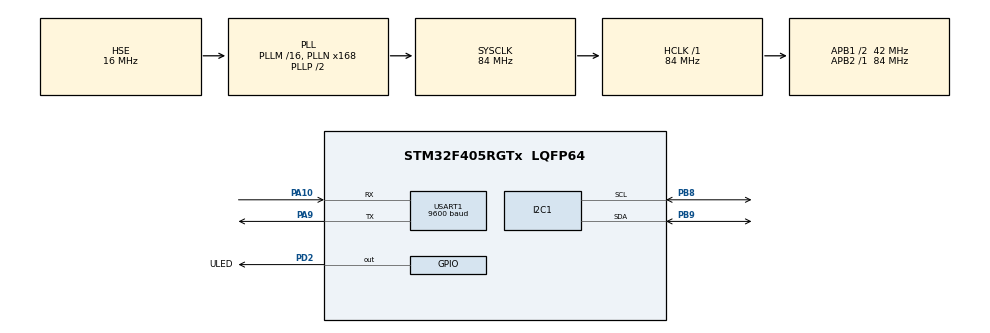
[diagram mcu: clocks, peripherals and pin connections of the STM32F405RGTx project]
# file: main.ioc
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Mcu.Family=STM32F4
Mcu.Name=STM32F405RGTx
Mcu.Package=LQFP64
NVIC.PriorityGroup=NVIC_PRIORITYGROUP_4
PA10.Mode=Asynchronous
PA10.Signal=USART1_RX
PA13.Mode=Serial_Wire
PA13.Signal=SYS_JTMS-SWDIO
PA14.Mode=Serial_Wire
PA14.Signal=SYS_JTCK-SWCLK
PA9.Mode=Asynchronous
PA9.Signal=USART1_TX
PB8.GPIO_Pu=GPIO_PULLUP
PB8.Mode=I2C
PB8.Signal=I2C1_SCL
PB9.GPIO_Pu=GPIO_PULLUP
PB9.Mode=I2C
PB9.Signal=I2C1_SDA
PC14-OSC32_IN.Mode=LSE-External-Oscillator
PC14-OSC32_IN.Signal=RCC_OSC32_IN
PC15-OSC32_OUT.Mode=LSE-External-Oscillator
PC15-OSC32_OUT.Signal=RCC_OSC32_OUT
PD2.GPIO_Label=ULED
PD2.Signal=GPIO_Output
PH0-OSC_IN.Mode=HSE-External-Oscillator
PH0-OSC_IN.Signal=RCC_OSC_IN
PH1-OSC_OUT.Mode=HSE-External-Oscillator
PH1-OSC_OUT.Signal=RCC_OSC_OUT
ProjectManager.HeapSize=0x200
ProjectManager.StackSize=0x400
ProjectManager.TargetToolchain=MDK-ARM V5.32
RCC.48MHZClocksFreq_Value=42000000
RCC.AHBFreq_Value=84000000
RCC.APB1CLKDivider=RCC_HCLK_DIV2
RCC.APB1Freq_Value=42000000
RCC.APB1TimFreq_Value=84000000
RCC.APB2Freq_Value=84000000
RCC.APB2TimFreq_Value=84000000
RCC.CortexFreq_Value=84000000
RCC.HCLKFreq_Value=84000000
RCC.HSE_VALUE=16000000
RCC.HSI_VALUE=16000000
RCC.PLLN=168
RCC.PLLSourceVirtual=RCC_PLLSOURCE_HSE
RCC.RCC_RTC_Clock_SourceVirtual=RCC_RTCCLKSOURCE_LSE
RCC.SYSCLKFreq_VALUE=84000000
RCC.SYSCLKSource=RCC_SYSCLKSOURCE_PLLCLK
RCC.VCOOutputFreq_Value=168000000
USART1.BaudRate=9600
USART1.VirtualMode=VM_ASYNC
board=main

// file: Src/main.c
/* USER CODE BEGIN Header */
/**
  ******************************************************************************
  * @file           : main.c
  * @brief          : Main program body
  ******************************************************************************
  * @attention
  *
  * Copyright (c) 2023 STMicroelectronics.
  * All rights reserved.
  *
  * This software is licensed under terms that can be found in the LICENSE file
  * in the root directory of this software component.
  * If no LICENSE file comes with this software, it is provided AS-IS.
  *
  ******************************************************************************
  */
/* USER CODE END Header */
#include "main.h"

/* USER CODE BEGIN Includes */
/* vim: set ai et ts=4 sw=4: */
#include <string.h>
#include <stdarg.h>
#include <stdbool.h>
#include <ctype.h>
#include "r820t2.h"

/* USER CODE END Includes */

I2C_HandleTypeDef hi2c1;

UART_HandleTypeDef huart1;

/* USER CODE BEGIN PV */
/* Private variables ---------------------------------------------------------*/

/* USER CODE END PV */

void SystemClock_Config(void);
static void MX_GPIO_Init(void);
static void MX_I2C1_Init(void);
static void MX_USART1_UART_Init(void);
/* USER CODE BEGIN PFP */
/* Private function prototypes -----------------------------------------------*/

/* USER CODE END PFP */

/* USER CODE BEGIN 0 */

void UART_Printf(const char* fmt, ...) {
    char buff[256];
    va_list args;
    va_start(args, fmt);
    vsnprintf(buff, sizeof(buff), fmt, args);
    HAL_UART_Transmit(&huart1, (uint8_t*)buff, strlen(buff),
                      HAL_MAX_DELAY);
    va_end(args);
}

HAL_StatusTypeDef UART_ReceiveString(
        UART_HandleTypeDef *huart, uint8_t *pData,
        uint16_t Size, uint32_t Timeout) {
    const char newline[] = "\r\n";
    const char delete[] = "\x08 \x08";
    HAL_StatusTypeDef status;

    if(Size == 0)
        return HAL_ERROR;

    int i = 0;
    for(;;) {
        status = HAL_UART_Receive(huart, &pData[i], 1, Timeout);
        if(status != HAL_OK)
            return status;

        if((pData[i] == '\x08')||(pData[i] == '\x7F')) { // backspace
            if(i > 0) {
                status = HAL_UART_Transmit(huart, (uint8_t*)delete,
                                           sizeof(delete)-1, Timeout);
                if(status != HAL_OK)
                    return status;
                i--;
            }
            continue;
        }

        if((pData[i] == '\r') || (pData[i] == '\n')) {
            pData[i] = '\0';
            status = HAL_UART_Transmit(huart, (uint8_t*)newline,
                                       sizeof(newline)-1, Timeout);
            if(status != HAL_OK)
                return status;
            break;
        }

        // last character is reserved for '\0'
        if(i == (Size-1)) {
            continue; // buffer is full, ignore any input
        }

        status = HAL_UART_Transmit(huart, &pData[i], 1, Timeout);
        if(status != HAL_OK)
            return status;
        i++;
    }

    return HAL_OK;
}

void init() {
    /* do nothing */
}

void cmd_help() {
    UART_Printf("help              - show this message\r\n");
    UART_Printf("scan              - perform I2C scan\r\n");
    UART_Printf("dump              - read all registers\r\n");
    UART_Printf("read <reg>        - read given register value\r\n"
                "                    (e.g `read 0A`)\r\n");
    UART_Printf("write <reg> <val> - write <val> to register <reg>\r\n"
                "                    (e.g. `write 0A E1`)\r\n");
    UART_Printf("init              - initialize R820T2\r\n");
    UART_Printf("calibrate         - calibrate R820T2\r\n");
    UART_Printf("frequency <val>   - set frequency to <val>\r\n"
                "                    (e.g. `frequency 144000000`)\r\n");
    UART_Printf("bandwidth <val>   - Set IF bandwidth [0-15]\r\n");
    UART_Printf("lna_gain <val>    - Set gain of LNA [0-15]\r\n");
    UART_Printf("vga_gain <val>    - Set gain of VGA [0-15]\r\n");
    UART_Printf("mixer_gain <val>  - Set gain Mixer [0-15]\r\n");
    UART_Printf("lna_agc <val>     - Enable/disable LNA AGC [0-1]\r\n");
    UART_Printf("mixer_agc <val>   - Enable/disable Mixer AGC [0-1]\r\n");
}

void cmd_scan() {
    HAL_StatusTypeDef res;
    for(uint16_t i = 0; i < 128; i++) {
        res = HAL_I2C_IsDeviceReady(&hi2c1, i << 1, 1, 10);
        if(res == HAL_OK) {
            UART_Printf("0x%02X ", i);
        } else {
            UART_Printf(".");
        }
    }
    UART_Printf("\r\n");
}

void cmd_dump() {
    uint8_t regs[R820T2_NUM_REGS];
    R820T2_read(0x00, regs, sizeof(regs));
    for(uint8_t i = 0; i < R820T2_NUM_REGS; i++) {
        UART_Printf("%02X ", regs[i]);
        if((i & 0x7) == 0x7) {
            UART_Printf("  ");
        }
        if((i & 0xF) == 0xF) {
            UART_Printf("\r\n");
        }
    }
}

void cmd_read(uint8_t reg) {
    if(reg >= R820T2_NUM_REGS) {
        UART_Printf("Out of bound: 0x00-0x%02X\r\n", R820T2_NUM_REGS);
        return;
    }

    uint8_t val = R820T2_read_reg(reg);
    UART_Printf("%02X\r\n", val);
}

void cmd_write(uint8_t reg, uint8_t val) {
    if(reg >= R820T2_NUM_REGS) {
        UART_Printf("Out of bound: 0x00-0x%02X\r\n", R820T2_NUM_REGS);
        return;
    }

    R820T2_write_reg(reg, val);
}

void cmd_init() {
    R820T2_init();
}

void cmd_calibrate() {
    int32_t res = R820T2_calibrate();
    if(res != 0) {
        UART_Printf("Calibration failed, res = %d\r\n", res);
    }
}

void cmd_frequency(uint32_t val) {
    if((val < 24000000) || (val > 1766000000)) {
        UART_Printf("Out of bound: 24000000-1766000000\r\n");
        return;
    }
    R820T2_set_frequency(val);
}

void cmd_bandwidth(uint32_t val) {
    if(val > 15) {
        UART_Printf("Out of bound: 0-15\r\n");
        return;
    }

    R820T2_set_bandwidth(val);
}

void cmd_lna_gain(uint32_t val) {
    if(val > 15) {
        UART_Printf("Out of bound: 0-15\r\n");
        return;
    }

    R820T2_set_lna_gain(val);
}

void cmd_vga_gain(uint32_t val) {
    if(val > 15) {
        UART_Printf("Out of bound: 0-15\r\n");
        return;
    }

    R820T2_set_vga_gain(val);
}

void cmd_mixer_gain(uint32_t val) {
    if(val > 15) {
        UART_Printf("Out of bound: 0-15\r\n");
        return;
    }

    R820T2_set_mixer_gain(val);
}

void cmd_lna_agc(uint32_t val) {
    if(val > 1) {
        UART_Printf("Out of bound: 0-15\r\n");
        return;
    }

    R820T2_set_lna_agc(val);
}

void cmd_mixer_agc(uint32_t val) {
    if(val > 1) {
        UART_Printf("Out of bound: 0-1\r\n");
        return;
    }

    R820T2_set_mixer_agc(val);
}

void loop() {
    unsigned int uint1, uint2;
    char cmd[128];
    UART_Printf("r820t2> ");
    UART_ReceiveString(&huart1, (uint8_t*)cmd, sizeof(cmd), HAL_MAX_DELAY);

    if(strcmp(cmd, "") == 0) {
        /* empty command - do nothing */
    } else if(strcmp(cmd, "help") == 0) {
        cmd_help();
    } else if(strcmp(cmd, "scan") == 0) {
        cmd_scan();
    } else if(strcmp(cmd, "init") == 0) {
        cmd_init();
    } else if(strcmp(cmd, "calibrate") == 0) {
        cmd_calibrate();
    } else if(strcmp(cmd, "dump") == 0) {
        cmd_dump();
    } else if(sscanf(cmd, "frequency %u", &uint1) == 1) {
        cmd_frequency((uint32_t)uint1);
    } else if(sscanf(cmd, "bandwidth %u", &uint1) == 1) {
        cmd_bandwidth((uint32_t)uint1);
    } else if(sscanf(cmd, "lna_gain %u", &uint1) == 1) {
        cmd_lna_gain((uint32_t)uint1);
    } else if(sscanf(cmd, "vga_gain %u", &uint1) == 1) {
        cmd_vga_gain((uint32_t)uint1);
    } else if(sscanf(cmd, "mixer_gain %u", &uint1) == 1) {
        cmd_mixer_gain((uint32_t)uint1);
    } else if(sscanf(cmd, "lna_agc %u", &uint1) == 1) {
        cmd_lna_agc((uint32_t)uint1);
    } else if(sscanf(cmd, "mixer_agc %u", &uint1) == 1) {
        cmd_mixer_agc((uint32_t)uint1);
    } else if(sscanf(cmd, "read %02x", &uint1) == 1) {
        cmd_read((uint8_t)uint1);
    } else if(sscanf(cmd, "write %02x %02x", &uint1, &uint2) == 2) {
        cmd_write((uint8_t)uint1, (uint8_t)uint2);
    } else {
        UART_Printf("Unknown command, try `help`\r\n");
    }
}

/* USER CODE END 0 */

int main(void)
{

  /* MCU Configuration--------------------------------------------------------*/

  /* Reset of all peripherals, Initializes the Flash interface and the Systick. */
  HAL_Init();

  /* Configure the system clock */
  SystemClock_Config();

  /* Initialize all configured peripherals */
  MX_GPIO_Init();
  MX_I2C1_Init();
  MX_USART1_UART_Init();

  /* Infinite loop */
  /* USER CODE BEGIN WHILE */
  init();
  while (1)
  {
    loop();
    /* USER CODE END WHILE */

  }
}

void SystemClock_Config(void)
{
  RCC_OscInitTypeDef RCC_OscInitStruct = {0};
  RCC_ClkInitTypeDef RCC_ClkInitStruct = {0};

  /** Configure the main internal regulator output voltage
  */
  __HAL_RCC_PWR_CLK_ENABLE();
  __HAL_PWR_VOLTAGESCALING_CONFIG(PWR_REGULATOR_VOLTAGE_SCALE1);

  /** Initializes the RCC Oscillators according to the specified parameters
  * in the RCC_OscInitTypeDef structure.
  */
  RCC_OscInitStruct.OscillatorType = RCC_OSCILLATORTYPE_HSE;
  RCC_OscInitStruct.HSEState = RCC_HSE_ON;
  RCC_OscInitStruct.PLL.PLLState = RCC_PLL_ON;
  RCC_OscInitStruct.PLL.PLLSource = RCC_PLLSOURCE_HSE;
  RCC_OscInitStruct.PLL.PLLM = 16;
  RCC_OscInitStruct.PLL.PLLN = 168;
  RCC_OscInitStruct.PLL.PLLP = RCC_PLLP_DIV2;
  RCC_OscInitStruct.PLL.PLLQ = 4;
  if (HAL_RCC_OscConfig(&RCC_OscInitStruct) != HAL_OK)
  {
    Error_Handler();
  }

  /** Initializes the CPU, AHB and APB buses clocks
  */
  RCC_ClkInitStruct.ClockType = RCC_CLOCKTYPE_HCLK|RCC_CLOCKTYPE_SYSCLK
                              |RCC_CLOCKTYPE_PCLK1|RCC_CLOCKTYPE_PCLK2;
  RCC_ClkInitStruct.SYSCLKSource = RCC_SYSCLKSOURCE_PLLCLK;
  RCC_ClkInitStruct.AHBCLKDivider = RCC_SYSCLK_DIV1;
  RCC_ClkInitStruct.APB1CLKDivider = RCC_HCLK_DIV2;
  RCC_ClkInitStruct.APB2CLKDivider = RCC_HCLK_DIV1;

  if (HAL_RCC_ClockConfig(&RCC_ClkInitStruct, FLASH_LATENCY_2) != HAL_OK)
  {
    Error_Handler();
  }
}

static void MX_I2C1_Init(void)
{

  hi2c1.Instance = I2C1;
  hi2c1.Init.ClockSpeed = 100000;
  hi2c1.Init.DutyCycle = I2C_DUTYCYCLE_2;
  hi2c1.Init.OwnAddress1 = 0;
  hi2c1.Init.AddressingMode = I2C_ADDRESSINGMODE_7BIT;
  hi2c1.Init.DualAddressMode = I2C_DUALADDRESS_DISABLE;
  hi2c1.Init.OwnAddress2 = 0;
  hi2c1.Init.GeneralCallMode = I2C_GENERALCALL_DISABLE;
  hi2c1.Init.NoStretchMode = I2C_NOSTRETCH_DISABLE;
  if (HAL_I2C_Init(&hi2c1) != HAL_OK)
  {
    Error_Handler();
  }

}

static void MX_USART1_UART_Init(void)
{

  huart1.Instance = USART1;
  huart1.Init.BaudRate = 9600;
  huart1.Init.WordLength = UART_WORDLENGTH_8B;
  huart1.Init.StopBits = UART_STOPBITS_1;
  huart1.Init.Parity = UART_PARITY_NONE;
  huart1.Init.Mode = UART_MODE_TX_RX;
  huart1.Init.HwFlowCtl = UART_HWCONTROL_NONE;
  huart1.Init.OverSampling = UART_OVERSAMPLING_16;
  if (HAL_UART_Init(&huart1) != HAL_OK)
  {
    Error_Handler();
  }

}

static void MX_GPIO_Init(void)
{
  GPIO_InitTypeDef GPIO_InitStruct = {0};

  /* GPIO Ports Clock Enable */
  __HAL_RCC_GPIOC_CLK_ENABLE();
  __HAL_RCC_GPIOH_CLK_ENABLE();
  __HAL_RCC_GPIOA_CLK_ENABLE();
  __HAL_RCC_GPIOD_CLK_ENABLE();
  __HAL_RCC_GPIOB_CLK_ENABLE();

  /*Configure GPIO pin Output Level */
  HAL_GPIO_WritePin(ULED_GPIO_Port, ULED_Pin, GPIO_PIN_RESET);

  /*Configure GPIO pin : ULED_Pin */
  GPIO_InitStruct.Pin = ULED_Pin;
  GPIO_InitStruct.Mode = GPIO_MODE_OUTPUT_PP;
  GPIO_InitStruct.Pull = GPIO_NOPULL;
  GPIO_InitStruct.Speed = GPIO_SPEED_FREQ_LOW;
  HAL_GPIO_Init(ULED_GPIO_Port, &GPIO_InitStruct);

}

void Error_Handler(void)
{
  while(1)
  {
  }
}
